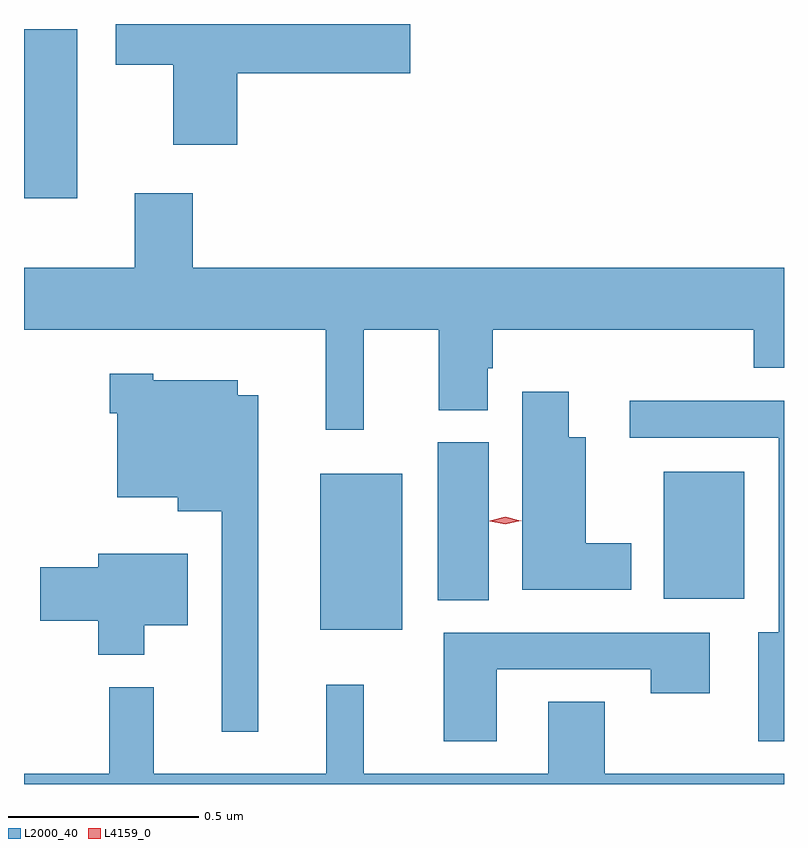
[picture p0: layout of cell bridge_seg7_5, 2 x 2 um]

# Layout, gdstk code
import gdstk
lib = gdstk.Library(unit=1e-6, precision=1e-09)
def R(c, l, rs):  # rectangles x0, y0, x1, y1
    for r in rs: c.add(gdstk.rectangle(r[:2], r[2:], *l))
def P(c, l, *ps):  # polygons
    for p in ps: c.add(gdstk.Polygon(p, *l))
L2000_40 = (2000, 40)
L4159_0 = (4159, 0)

bridge_seg7_5 = lib.new_cell('bridge_seg7_5')
R(bridge_seg7_5, L2000_40, [(1032.851,1054.439,1033.066,1054.849), (1033.16,1054.516,1033.294,1054.932), (1033.754,1054.52,1033.966,1054.855), (1032.071,1055.574,1032.211,1056.019)])
P(bridge_seg7_5, L2000_40, [(1032.632,1055.903),(1033.087,1055.903),(1033.087,1056.033),(1032.312,1056.033),(1032.312,1055.926),(1032.464,1055.926),(1032.464,1055.715),(1032.632,1055.715)],
  [(1032.515,1055.587),(1032.362,1055.587),(1032.362,1055.392),(1032.071,1055.392),(1032.071,1055.228),(1032.865,1055.228),(1032.865,1054.965),(1032.965,1054.965),(1032.965,1055.228),(1033.163,1055.228),(1033.163,1055.017),(1033.291,1055.017),(1033.291,1055.127),(1033.304,1055.127),(1033.304,1055.228),(1033.991,1055.228),(1033.991,1055.129),(1034.071,1055.129),(1034.071,1055.392),(1032.515,1055.392)],
  [(1032.688,1055.056),(1032.634,1055.056),(1032.634,1055.095),(1032.411,1055.095),(1032.411,1055.113),(1032.296,1055.113),(1032.296,1055.009),(1032.317,1055.009),(1032.317,1054.787),(1032.476,1054.787),(1032.476,1054.751),(1032.591,1054.751),(1032.591,1054.17),(1032.688,1054.17)],
  [(1033.669,1054.666),(1033.549,1054.666),(1033.549,1054.945),(1033.504,1054.945),(1033.504,1055.065),(1033.382,1055.065),(1033.382,1054.544),(1033.669,1054.544)],
  [(1034.071,1055.042),(1033.665,1055.042),(1033.665,1054.944),(1034.057,1054.944),(1034.057,1054.432),(1034.003,1054.432),(1034.003,1054.146),(1034.071,1054.146)],
  [(1032.388,1054.451),(1032.502,1054.451),(1032.502,1054.639),(1032.266,1054.639),(1032.266,1054.604),(1032.114,1054.604),(1032.114,1054.462),(1032.266,1054.462),(1032.266,1054.373),(1032.388,1054.373)],
  [(1033.315,1054.335),(1033.72,1054.335),(1033.72,1054.272),(1033.876,1054.272),(1033.876,1054.431),(1033.175,1054.431),(1033.175,1054.146),(1033.315,1054.146)],
  [(1033.451,1054.25),(1033.451,1054.06),(1032.965,1054.06),(1032.965,1054.294),(1032.866,1054.294),(1032.866,1054.06),(1032.413,1054.06),(1032.413,1054.288),(1032.295,1054.288),(1032.295,1054.06),(1032.071,1054.06),(1032.071,1054.033),(1034.071,1054.033),(1034.071,1054.06),(1033.599,1054.06),(1033.599,1054.25)])
P(bridge_seg7_5, L4159_0, [(1033.337,1054.716),(1033.296,1054.725),(1033.296,1054.725),(1033.296,1054.726),(1033.337,1054.736),(1033.378,1054.726),(1033.379,1054.726),(1033.378,1054.726)])

lib.write_gds('bridge_seg7_5.gds')
